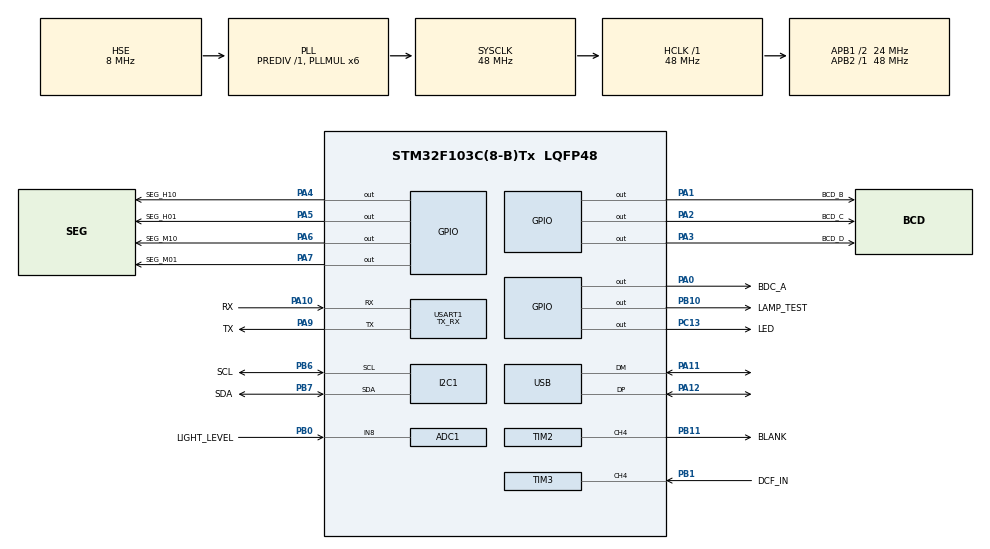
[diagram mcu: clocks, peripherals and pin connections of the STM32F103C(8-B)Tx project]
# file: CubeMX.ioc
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ADC1.Channel-0\#ChannelRegularConversion=ADC_CHANNEL_8
ADC1.NbrOfConversionFlag=1
ADC1.Rank-0\#ChannelRegularConversion=1
ADC1.SamplingTime-0\#ChannelRegularConversion=ADC_SAMPLETIME_1CYCLE_5
ADC1.master=1
Mcu.Family=STM32F1
Mcu.Name=STM32F103C(8-B)Tx
Mcu.Package=LQFP48
NVIC.PriorityGroup=NVIC_PRIORITYGROUP_4
NVIC.RTC_IRQn=true\:0\:0\:false\:false\:true\:true\:true
NVIC.TIM3_IRQn=true\:0\:0\:false\:false\:true\:true\:true
PA0-WKUP.GPIO_Label=BDC_A
PA0-WKUP.Signal=GPIO_Output
PA1.GPIO_Label=BCD_B
PA1.Signal=GPIO_Output
PA10.GPIO_Label=RX
PA10.Mode=Asynchronous
PA10.Signal=USART1_RX
PA11.Mode=Device
PA11.Signal=USB_DM
PA12.Mode=Device
PA12.Signal=USB_DP
PA13.GPIO_Label=SWDIO
PA13.Mode=Trace_Asynchronous_SW
PA13.Signal=SYS_JTMS-SWDIO
PA14.GPIO_Label=SWCLK
PA14.Mode=Trace_Asynchronous_SW
PA14.Signal=SYS_JTCK-SWCLK
PA2.GPIO_Label=BCD_C
PA2.Signal=GPIO_Output
PA3.GPIO_Label=BCD_D
PA3.Signal=GPIO_Output
PA4.GPIO_Label=SEG_H10
PA4.Signal=GPIO_Output
PA5.GPIO_Label=SEG_H01
PA5.Signal=GPIO_Output
PA6.GPIO_Label=SEG_M10
PA6.Signal=GPIO_Output
PA7.GPIO_Label=SEG_M01
PA7.Signal=GPIO_Output
PA9.GPIO_Label=TX
PA9.Mode=Asynchronous
PA9.Signal=USART1_TX
PB0.GPIO_Label=LIGHT_LEVEL
PB0.Signal=ADCx_IN8
PB1.GPIO_Label=DCF_IN
PB1.GPIO_PuPd=GPIO_PULLUP
PB1.Signal=S_TIM3_CH4
PB10.GPIO_Label=LAMP_TEST
PB10.Signal=GPIO_Output
PB11.GPIO_Label=BLANK
PB11.Signal=S_TIM2_CH4
PB3.GPIO_Label=SWO
PB3.Mode=Trace_Asynchronous_SW
PB3.Signal=SYS_JTDO-TRACESWO
PB6.GPIO_Label=SCL
PB6.Mode=I2C
PB6.Signal=I2C1_SCL
PB7.GPIO_Label=SDA
PB7.Mode=I2C
PB7.Signal=I2C1_SDA
PC13-TAMPER-RTC.GPIO_Label=LED
PC13-TAMPER-RTC.Signal=GPIO_Output
PC14-OSC32_IN.GPIO_Label=OSC32_IN
PC14-OSC32_IN.Mode=LSE-External-Oscillator
PC14-OSC32_IN.Signal=RCC_OSC32_IN
PC15-OSC32_OUT.GPIO_Label=OSC32_OUT
PC15-OSC32_OUT.Mode=LSE-External-Oscillator
PC15-OSC32_OUT.Signal=RCC_OSC32_OUT
PD0-OSC_IN.GPIO_Label=OSC_IN
PD0-OSC_IN.Mode=HSE-External-Oscillator
PD0-OSC_IN.Signal=RCC_OSC_IN
PD1-OSC_OUT.GPIO_Label=OSC_OUT
PD1-OSC_OUT.Mode=HSE-External-Oscillator
PD1-OSC_OUT.Signal=RCC_OSC_OUT
ProjectManager.HeapSize=0x200
ProjectManager.StackSize=0x400
ProjectManager.TargetToolchain=TrueSTUDIO
RCC.ADCPresc=RCC_ADCPCLK2_DIV4
RCC.AHBFreq_Value=48000000
RCC.APB1CLKDivider=RCC_HCLK_DIV2
RCC.APB1Freq_Value=24000000
RCC.APB1TimFreq_Value=48000000
RCC.APB2Freq_Value=48000000
RCC.APB2TimFreq_Value=48000000
RCC.HCLKFreq_Value=48000000
RCC.PLLMUL=RCC_PLL_MUL6
RCC.PLLSourceVirtual=RCC_PLLSOURCE_HSE
RCC.RTCClockSelection=RCC_RTCCLKSOURCE_LSE
RCC.SYSCLKFreq_VALUE=48000000
RCC.SYSCLKSource=RCC_SYSCLKSOURCE_PLLCLK
RCC.USBFreq_Value=48000000
RTC.Format=RTC_FORMAT_BIN
SH.ADCx_IN8.0=ADC1_IN8,IN8
SH.S_TIM2_CH4.0=TIM2_CH4,PWM Generation4 CH4
SH.S_TIM3_CH4.0=TIM3_CH4,Input_Capture4_from_TI4
SH.S_TIM3_CH4.1=TIM3_CH4,Input_Capture3_from_TI4
TIM2.Channel-PWM\ Generation4\ CH4=TIM_CHANNEL_4
TIM2.Period=0xffff
TIM3.AutoReloadPreload=TIM_AUTORELOAD_PRELOAD_ENABLE
TIM3.Channel-Input_Capture3_from_TI4=TIM_CHANNEL_3
TIM3.Channel-Input_Capture4_from_TI4=TIM_CHANNEL_4
TIM3.ClockDivision=TIM_CLOCKDIVISION_DIV1
TIM3.ICPolarity_CH3=TIM_INPUTCHANNELPOLARITY_RISING
TIM3.ICPolarity_CH4=TIM_INPUTCHANNELPOLARITY_FALLING
TIM3.Period=65535
TIM3.Prescaler=47999
TIM3.TIM_MasterOutputTrigger=TIM_TRGO_RESET
USART1.Mode=MODE_TX_RX
USART1.VirtualMode=VM_ASYNC
VP_RTC_No_RTC_Output.Mode=RTC_OUT_NO
VP_RTC_VS_RTC_Activate.Mode=RTC_Enabled
VP_RTC_VS_RTC_Calendar.Mode=RTC_Calendar
VP_TIM2_VS_ClockSourceINT.Mode=Internal
VP_TIM3_VS_ClockSourceINT.Mode=Internal
board=custom

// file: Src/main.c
/* USER CODE BEGIN Header */
/**
 ******************************************************************************
 * @file           : main.c
 * @brief          : Main program body
 ******************************************************************************
 * @attention
 *
 * <h2><center>&copy; Copyright (c) 2019 STMicroelectronics.
 * All rights reserved.</center></h2>
 *
 * This software component is licensed by ST under BSD 3-Clause license,
 * the "License"; You may not use this file except in compliance with the
 * License. You may obtain a copy of the License at:
 *                        opensource.org/licenses/BSD-3-Clause
 *
 ******************************************************************************
 */
/* USER CODE END Header */

#include "main.h"
#include "adc.h"
#include "i2c.h"
#include "rtc.h"
#include "tim.h"
#include "usart.h"
#include "usb.h"
#include "gpio.h"

/* USER CODE BEGIN Includes */
#include "dcf.h"
/* USER CODE END Includes */

void SystemClock_Config(void);

/* USER CODE BEGIN 0 */

static unsigned short pulseStart;
static unsigned short minuteStart;

static void adjustTimer(int error);

void HAL_TIM_IC_CaptureCallback(TIM_HandleTypeDef *htim) {
	if (htim == &htim3 && htim->Channel == HAL_TIM_ACTIVE_CHANNEL_4) {
		HAL_GPIO_TogglePin(LED_GPIO_Port, LED_Pin);

		const unsigned short pulseEnd = htim->Instance->CCR3;
		const unsigned short newPulseStart = htim->Instance->CCR4;

		dcf_addBit(pulseEnd - pulseStart, newPulseStart - pulseStart);
		pulseStart = newPulseStart;
	}
}

void dcf_handleTelegram(DCF* dcf) {
	if (dcf) {
		RTC_TimeTypeDef sTime = { 0 };
		RTC_DateTypeDef sDate = { 0 };

		sTime.Hours = 10 * dcf->hour10 + dcf->hour01;
		sTime.Minutes = 10 * dcf->minute10 + dcf->minute01;
		sDate.Date = 10 * dcf->day10 + dcf->day01;
		sDate.Month = 10 * dcf->month10 + dcf->month01;
		sDate.Year = 10 * dcf->year10 + dcf->year01;
		sDate.WeekDay = dcf->weekday % 7;

		HAL_RTC_SetTime(&hrtc, &sTime, RTC_FORMAT_BIN);
		HAL_RTC_SetDate(&hrtc, &sDate, RTC_FORMAT_BIN);
	}

	const unsigned short newMinuteStart = htim3.Instance->CNT;
	const unsigned short minuteLength = newMinuteStart - minuteStart;
	const int minuteError = minuteLength - 60000;

	if (-600 <= minuteError && minuteError <= 600) {
		adjustTimer(minuteError);
	}

	minuteStart = newMinuteStart;
}

#define SEG_NONE_MASK 0xf0
#define SEG_M01_MASK 0x70
#define SEG_M10_MASK 0xb0
#define SEG_H01_MASK 0xd0
#define SEG_H10_MASK 0xe0

void HAL_RTCEx_RTCEventCallback(RTC_HandleTypeDef *hrtc) {
	static int counter = 0;
	static int test = 0;

	++counter;

	//HAL_GPIO_TogglePin(LED_GPIO_Port, LED_Pin);

	RTC_TimeTypeDef sTime = { 0 };

	HAL_RTC_GetTime(hrtc, &sTime, RTC_FORMAT_BIN);

	const int h10 = (test ? (counter + 0) : (sTime.Hours / 10)) % 10; // (sTime.Hours / 10) % 10;
	const int h01 = (test ? (counter + 1) : sTime.Hours) % 10; // sTime.Hours % 10;
	const int m10 = (test ? (counter + 2) : (sTime.Minutes / 10)) % 10; // (sTime.Minutes / 10) % 10;
	const int m01 = (test ? (counter + 3) : sTime.Minutes) % 10; // sTime.Minutes % 10;

	GPIOA->ODR = (GPIOA->ODR & ~0xff) | SEG_NONE_MASK | h10;
	GPIOA->ODR = (GPIOA->ODR & ~0xff) | SEG_H10_MASK | h10;
	GPIOA->ODR = (GPIOA->ODR & ~0xff) | SEG_NONE_MASK | h10;
	GPIOA->ODR = (GPIOA->ODR & ~0xff) | SEG_NONE_MASK;

	GPIOA->ODR = (GPIOA->ODR & ~0xff) | SEG_NONE_MASK | h01;
	GPIOA->ODR = (GPIOA->ODR & ~0xff) | SEG_H01_MASK | h01;
	GPIOA->ODR = (GPIOA->ODR & ~0xff) | SEG_NONE_MASK | h01;
	GPIOA->ODR = (GPIOA->ODR & ~0xff) | SEG_NONE_MASK;

	GPIOA->ODR = (GPIOA->ODR & ~0xff) | SEG_NONE_MASK | m10;
	GPIOA->ODR = (GPIOA->ODR & ~0xff) | SEG_M10_MASK | m10;
	GPIOA->ODR = (GPIOA->ODR & ~0xff) | SEG_NONE_MASK | m10;
	GPIOA->ODR = (GPIOA->ODR & ~0xff) | SEG_NONE_MASK;

	GPIOA->ODR = (GPIOA->ODR & ~0xff) | SEG_NONE_MASK | m01;
	GPIOA->ODR = (GPIOA->ODR & ~0xff) | SEG_M01_MASK | m01;
	GPIOA->ODR = (GPIOA->ODR & ~0xff) | SEG_NONE_MASK | m01;
	GPIOA->ODR = (GPIOA->ODR & ~0xff) | SEG_NONE_MASK;
}

void adjustTimer(int error) {

}

/* USER CODE END 0 */

int main(void) {

	/* MCU Configuration--------------------------------------------------------*/

	/* Reset of all peripherals, Initializes the Flash interface and the Systick. */
	HAL_Init();

	/* Configure the system clock */
	SystemClock_Config();

	/* Initialize all configured peripherals */
	MX_GPIO_Init();
	MX_RTC_Init();
	MX_TIM3_Init();
	MX_ADC1_Init();
	MX_I2C1_Init();
	MX_USB_PCD_Init();
	MX_USART1_UART_Init();
	MX_TIM2_Init();
	/* USER CODE BEGIN 2 */
	HAL_GPIO_WritePin(LAMP_TEST_GPIO_Port, LAMP_TEST_Pin, GPIO_PIN_SET);
	HAL_TIM_IC_Start(&htim3, TIM_CHANNEL_3);
	HAL_TIM_IC_Start_IT(&htim3, TIM_CHANNEL_4);
	HAL_TIM_PWM_Start(&htim2, TIM_CHANNEL_4);
	HAL_RTCEx_SetSecond_IT(&hrtc);

	htim2.Instance->CCR4 = 0xffff;

	/* USER CODE END 2 */

	/* Infinite loop */
	while (1) {

		/* USER CODE BEGIN 3 */
		//const int x = HAL_GPIO_ReadPin(DCF_IN_GPIO_Port, DCF_IN_Pin);
		//HAL_GPIO_WritePin(LED_GPIO_Port, LED_Pin, x);
		//ITM_SendChar('x');
		//ITM_SendChar('\n');
		__WFE();
	}
	/* USER CODE END 3 */
}

void SystemClock_Config(void) {
	RCC_OscInitTypeDef RCC_OscInitStruct = { 0 };
	RCC_ClkInitTypeDef RCC_ClkInitStruct = { 0 };
	RCC_PeriphCLKInitTypeDef PeriphClkInit = { 0 };

	/** Initializes the CPU, AHB and APB busses clocks
	 */
	RCC_OscInitStruct.OscillatorType = RCC_OSCILLATORTYPE_HSE
			| RCC_OSCILLATORTYPE_LSE;
	RCC_OscInitStruct.HSEState = RCC_HSE_ON;
	RCC_OscInitStruct.HSEPredivValue = RCC_HSE_PREDIV_DIV1;
	RCC_OscInitStruct.LSEState = RCC_LSE_ON;
	RCC_OscInitStruct.HSIState = RCC_HSI_ON;
	RCC_OscInitStruct.PLL.PLLState = RCC_PLL_ON;
	RCC_OscInitStruct.PLL.PLLSource = RCC_PLLSOURCE_HSE;
	RCC_OscInitStruct.PLL.PLLMUL = RCC_PLL_MUL6;
	if (HAL_RCC_OscConfig(&RCC_OscInitStruct) != HAL_OK) {
		Error_Handler();
	}
	/** Initializes the CPU, AHB and APB busses clocks
	 */
	RCC_ClkInitStruct.ClockType = RCC_CLOCKTYPE_HCLK | RCC_CLOCKTYPE_SYSCLK
			| RCC_CLOCKTYPE_PCLK1 | RCC_CLOCKTYPE_PCLK2;
	RCC_ClkInitStruct.SYSCLKSource = RCC_SYSCLKSOURCE_PLLCLK;
	RCC_ClkInitStruct.AHBCLKDivider = RCC_SYSCLK_DIV1;
	RCC_ClkInitStruct.APB1CLKDivider = RCC_HCLK_DIV2;
	RCC_ClkInitStruct.APB2CLKDivider = RCC_HCLK_DIV1;

	if (HAL_RCC_ClockConfig(&RCC_ClkInitStruct, FLASH_LATENCY_1) != HAL_OK) {
		Error_Handler();
	}
	PeriphClkInit.PeriphClockSelection = RCC_PERIPHCLK_RTC | RCC_PERIPHCLK_ADC
			| RCC_PERIPHCLK_USB;
	PeriphClkInit.RTCClockSelection = RCC_RTCCLKSOURCE_LSE;
	PeriphClkInit.AdcClockSelection = RCC_ADCPCLK2_DIV4;
	PeriphClkInit.UsbClockSelection = RCC_USBCLKSOURCE_PLL;
	if (HAL_RCCEx_PeriphCLKConfig(&PeriphClkInit) != HAL_OK) {
		Error_Handler();
	}
}

void Error_Handler(void) {
}

/************************ (C) COPYRIGHT STMicroelectronics *****END OF FILE****/
